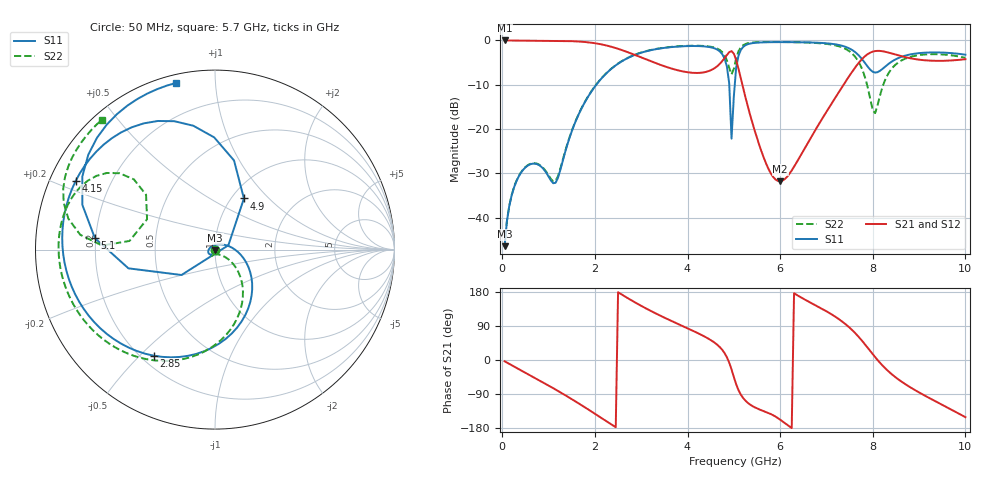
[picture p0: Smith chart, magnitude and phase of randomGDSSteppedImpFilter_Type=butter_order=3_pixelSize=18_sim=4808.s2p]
! freq	dB(S11)	phase(S11)	dB(S12)	phase(S12)
!  dB(S21)	phase(S21)	dB(S22)	phase(S22)
!S-par simulation data
#  GHz  S  DB  R 50
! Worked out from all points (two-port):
!   200 points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, 50 MHz to 10 GHz, reference 50 ohm
!   highest |S21| = -0.01 dB at 50 MHz (marker M1); lowest = -31.8 dB at 6 GHz (marker M2)
!   |S21| within 3 dB of the highest: start of sweep to 2.799 GHz; 7.903 GHz to 8.43 GHz (526.7 MHz wide, 6.45 % of centre) (the widest 2 of 3)
!   lowest |S11| = -46.4 dB at 50 MHz (marker M3), VSWR 1.01, Z = 50 - j0.479 ohm
!   |S11| at or under -10 dB: start of sweep to 2.029 GHz; 4.901 GHz to 5.02 GHz (118.9 MHz wide, 2.4 % of centre)
!   |S22| runs from -46.4 to -0.4 dB; largest |S21 - S12| = 0
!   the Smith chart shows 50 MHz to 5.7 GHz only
!   S11 on the Smith chart (normalised r, x): 50 MHz: 1.00, -0.01; 2.85 GHz: 0.25, -0.55; 4.15 GHz: 0.08, +0.23; 4.9 GHz: 1.14, +0.73; 5.1 GHz: 0.20, +0.05; 5.7 GHz: 0.04, +0.79
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0.05  -46.39 -88.0  -0.01 -3.4  -0.01 -3.4  -46.40 -85.8
0.35  -30.76 -118.7  -0.04 -23.5  -0.04 -23.5  -30.69 -106.8
1.15  -32.10 100.3  -0.10 -77.9  -0.10 -77.9  -31.66 -78.1
1.75  -14.56 -22.2  -0.32 -122.2  -0.32 -122.2  -14.50 -44.8
2.85  -3.31 -120.1  -3.21 153.1  -3.21 153.1  -3.27 -115.4
3.4  -1.82 -159.0  -5.45 117.7  -5.45 117.7  -1.78 -146.5
4.15  -1.26 153.9  -7.32 75.1  -7.32 75.1  -1.19 177.6
4.7  -2.50 107.6  -5.24 33.6  -5.24 33.6  -2.18 148.1
4.9  -9.70 60.5  -2.63 -7.0  -2.63 -7.0  -6.19 141.5
4.95  -22.14 17.9  -2.42 -24.9  -2.42 -24.9  -7.65 155.9
5.05  -6.14 -167.8  -4.40 -63.9  -4.40 -63.9  -4.02 177.9
5.1  -3.45 174.6  -6.37 -79.4  -6.37 -79.4  -2.44 173.7
5.35  -0.71 130.8  -16.74 -117.5  -16.74 -117.5  -0.54 150.5
5.7  -0.41 103.2  -27.86 -137.6  -27.86 -137.6  -0.35 131.0
6  -0.38 85.3  -31.77 -157.5  -31.77 -157.5  -0.36 116.8
6.7  -0.47 47.2  -21.25 148.5  -21.25 148.5  -0.53 81.6
7.45  -1.60 2.2  -8.70 90.7  -8.70 90.7  -2.13 22.7
7.85  -5.34 -18.0  -3.40 38.4  -3.40 38.4  -8.94 -46.6
8.05  -7.25 -7.7  -2.41 7.6  -2.41 7.6  -16.40 -153.6
8.35  -5.21 0.9  -2.77 -31.2  -2.77 -31.2  -7.23 102.7
9.2  -2.72 -33.5  -4.54 -99.0  -4.54 -99.0  -3.12 16.2
10  -3.21 -64.4  -4.23 -150.9  -4.23 -150.9  -3.93 -52.1
